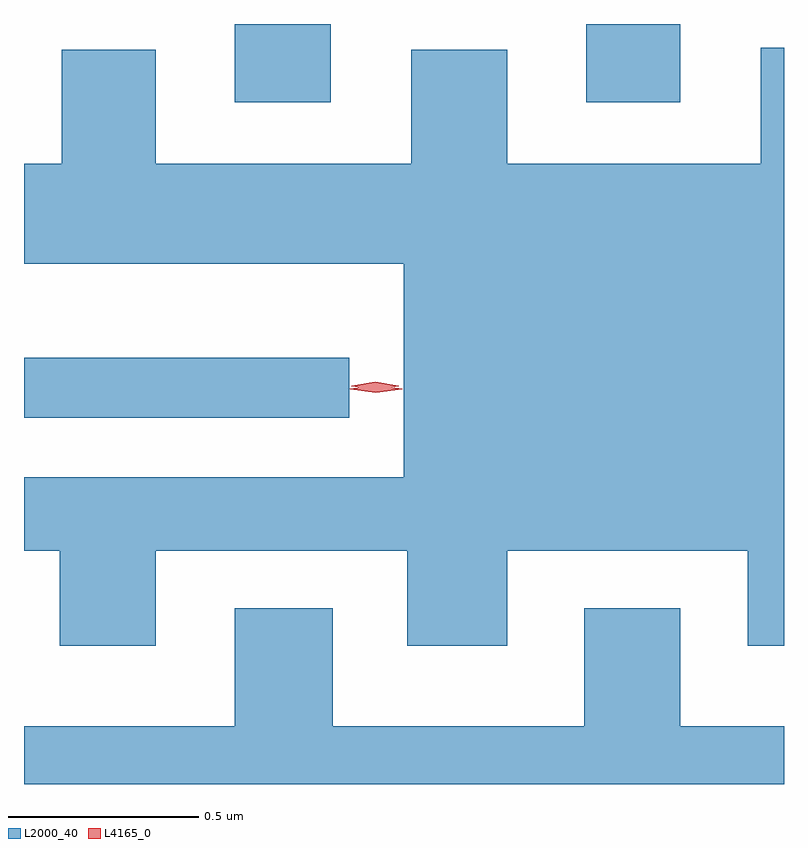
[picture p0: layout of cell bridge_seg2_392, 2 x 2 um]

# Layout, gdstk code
import gdstk
lib = gdstk.Library(unit=1e-6, precision=1e-09)
def R(c, l, rs):  # rectangles x0, y0, x1, y1
    for r in rs: c.add(gdstk.rectangle(r[:2], r[2:], *l))
def P(c, l, *ps):  # polygons
    for p in ps: c.add(gdstk.Polygon(p, *l))
L2000_40 = (2000, 40)
L4165_0 = (4165, 0)

bridge_seg2_392 = lib.new_cell('bridge_seg2_392')
R(bridge_seg2_392, L2000_40, [(630.032,1038.296,630.888,1038.454), (630.586,1039.126,630.839,1039.332), (631.511,1039.126,631.759,1039.332)])
P(bridge_seg2_392, L2000_40, [(630.379,1037.946),(631.041,1037.946),(631.041,1037.696),(631.304,1037.696),(631.304,1037.946),(631.936,1037.946),(631.936,1037.696),(632.032,1037.696),(632.032,1039.269),(631.971,1039.269),(631.971,1038.964),(631.304,1038.964),(631.304,1039.264),(631.051,1039.264),(631.051,1038.964),(630.379,1038.964),(630.379,1039.264),(630.131,1039.264),(630.131,1038.964),(630.032,1038.964),(630.032,1038.701),(631.031,1038.701),(631.031,1038.139),(630.032,1038.139),(630.032,1037.946),(630.126,1037.946),(630.126,1037.696),(630.379,1037.696)],
  [(632.032,1037.484),(631.759,1037.484),(631.759,1037.794),(631.506,1037.794),(631.506,1037.484),(630.844,1037.484),(630.844,1037.794),(630.586,1037.794),(630.586,1037.484),(630.032,1037.484),(630.032,1037.332),(632.032,1037.332)])
P(bridge_seg2_392, L4165_0, [(630.956,1038.37),(630.894,1038.379),(630.893,1038.379),(630.894,1038.38),(630.956,1038.39),(631.018,1038.38),(631.018,1038.38),(631.018,1038.379)],
  [(630.958,1038.362),(630.89,1038.371),(630.889,1038.372),(630.89,1038.372),(630.959,1038.381),(631.027,1038.372),(631.028,1038.371),(631.027,1038.371)])

lib.write_gds('bridge_seg2_392.gds')
